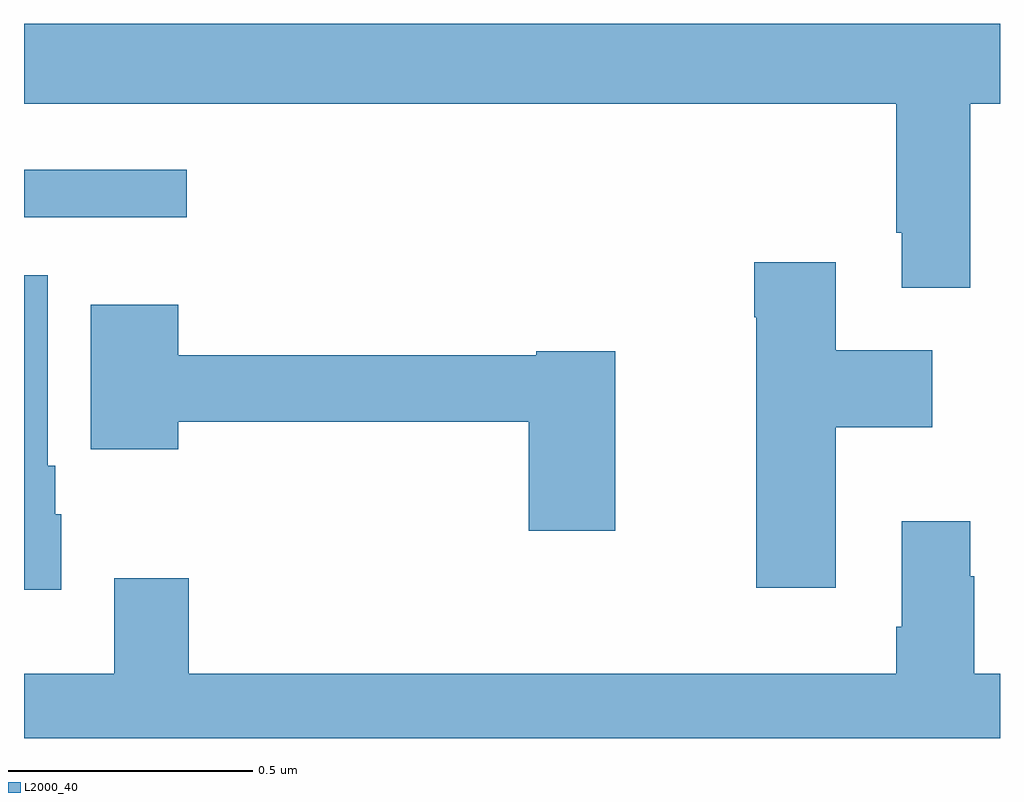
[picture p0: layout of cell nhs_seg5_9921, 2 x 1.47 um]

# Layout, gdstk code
import gdstk
lib = gdstk.Library(unit=1e-6, precision=1e-09)
def R(c, l, rs):  # rectangles x0, y0, x1, y1
    for r in rs: c.add(gdstk.rectangle(r[:2], r[2:], *l))
def P(c, l, *ps):  # polygons
    for p in ps: c.add(gdstk.Polygon(p, *l))
L2000_40 = (2000, 40)

nhs_seg5_9921 = lib.new_cell('nhs_seg5_9921')
R(nhs_seg5_9921, L2000_40, [(240,849.867,240.334,849.964)])
P(nhs_seg5_9921, L2000_40, [(241.939,850.1),(242,850.1),(242,850.264),(240,850.264),(240,850.1),(241.787,850.1),(241.787,849.835),(241.799,849.835),(241.799,849.723),(241.939,849.723)],
  [(241.663,849.437),(241.861,849.437),(241.861,849.595),(241.663,849.595),(241.663,849.775),(241.496,849.775),(241.496,849.662),(241.501,849.662),(241.501,849.108),(241.663,849.108)],
  [(240.076,849.258),(240.064,849.258),(240.064,849.358),(240.049,849.358),(240.049,849.748),(240,849.748),(240,849.104),(240.076,849.104)],
  [(241.212,849.592),(241.05,849.592),(241.05,849.584),(240.316,849.584),(240.316,849.688),(240.137,849.688),(240.137,849.392),(240.316,849.392),(240.316,849.448),(241.034,849.448),(241.034,849.225),(241.212,849.225)],
  [(242,848.932),(241.947,848.932),(241.947,849.131),(241.939,849.131),(241.939,849.244),(241.799,849.244),(241.799,849.028),(241.787,849.028),(241.787,848.932),(240.338,848.932),(240.338,849.127),(240.185,849.127),(240.185,848.932),(240,848.932),(240,848.799),(242,848.799)])

lib.write_gds('nhs_seg5_9921.gds')
